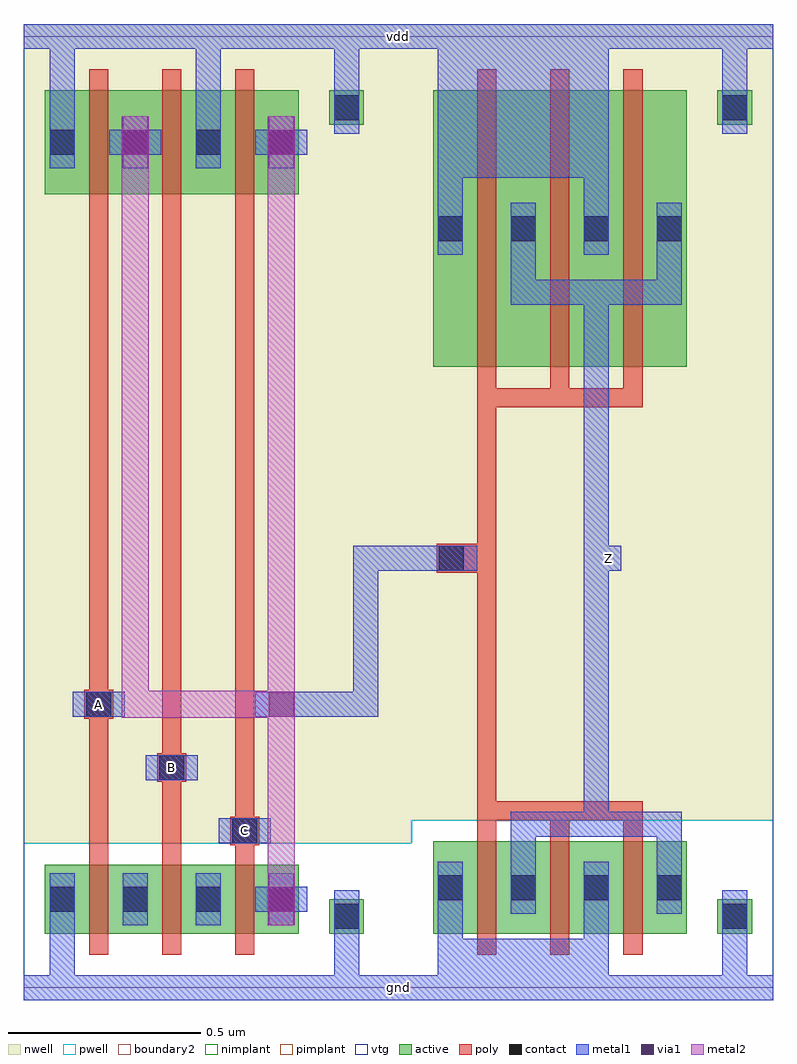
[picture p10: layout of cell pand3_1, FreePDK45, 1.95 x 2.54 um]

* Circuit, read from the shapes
.subckt pand3_1 A B C Z gnd vdd
M1 pnand3_1_0/nmos_m1_w0_180_a_p_3/D A gnd gnd nfet w=0.18u l=0.05u
M2 pnand3_1_0/nmos_m1_w0_180_a_p_4/D B pnand3_1_0/nmos_m1_w0_180_a_p_3/D gnd nfet w=0.18u l=0.05u
M3 pinv_15_1/A C pnand3_1_0/nmos_m1_w0_180_a_p_4/D gnd nfet w=0.18u l=0.05u
M4 Z pinv_15_1/A gnd gnd nfet w=0.24u l=0.05u m=3
M5 pinv_15_1/A A vdd vdd pfet w=0.27u l=0.05u
M6 vdd B pinv_15_1/A vdd pfet w=0.27u l=0.05u
M7 pinv_15_1/A C vdd vdd pfet w=0.27u l=0.05u
M8 Z pinv_15_1/A vdd vdd pfet w=0.72u l=0.05u m=3
.ends

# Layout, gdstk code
import gdstk
lib = gdstk.Library(unit=1e-6, precision=5e-10)
def R(c, l, rs):  # rectangles x0, y0, x1, y1
    for r in rs: c.add(gdstk.rectangle(r[:2], r[2:], *l))
def A(c, l, x, y, w, h, nx, ny, dx, dy):  # array of equal rectangles
    R(c, l, [(x+i*dx, y+j*dy, x+i*dx+w, y+j*dy+h) for i in range(nx) for j in range(ny)])
active = (1, 0)
pwell = (2, 0)
nwell = (3, 0)
nimplant = (4, 0)
pimplant = (5, 0)
vtg = (6, 0)
poly = (9, 0)
contact = (10, 0)
metal1 = (11, 0)
via1 = (12, 0)
metal2 = (13, 0)
boundary2 = (239, 0)

contact_9 = lib.new_cell('contact_9')
R(contact_9, active, [(0,0.0225,0.09,0.1125)])
R(contact_9, nwell, [(-0.055,-0.0325,0.145,0.1675)])
R(contact_9, pimplant, [(0,0.0225,0.09,0.1125)])
R(contact_9, contact, [(0.0125,0.035,0.0775,0.1)])
R(contact_9, metal1, [(0.0125,0,0.0775,0.135)])

pmos_m1_w0_270_a_p = lib.new_cell('pmos_m1_w0_270_a_p')
R(pmos_m1_w0_270_a_p, active, [(0,0,0.28,0.27)])
R(pmos_m1_w0_270_a_p, nwell, [(-0.055,-0.055,0.335,0.325)])
R(pmos_m1_w0_270_a_p, pimplant, [(0,0,0.28,0.27)])
R(pmos_m1_w0_270_a_p, vtg, [(-0.055,-0.055,0.335,0.325)])
R(pmos_m1_w0_270_a_p, poly, [(0.115,-0.055,0.165,0.325), (0.115,-0.055,0.165,0.325)])
R(pmos_m1_w0_270_a_p, metal1, [(0.0125,0.0675,0.0775,0.2025), (0.2025,0.0675,0.2675,0.2025)])
pmos_m1_w0_270_a_p.add(gdstk.Reference(contact_9, (0,0.0675)))
pmos_m1_w0_270_a_p.add(gdstk.Reference(contact_9, (0.19,0.0675)))
pmos_m1_w0_270_a_p.add(gdstk.Label('G', (0.14,0.135), layer=9, texttype=0))
pmos_m1_w0_270_a_p.add(gdstk.Label('S', (0.045,0.135), layer=11, texttype=0))
pmos_m1_w0_270_a_p.add(gdstk.Label('D', (0.235,0.135), layer=11, texttype=0))

contact_14 = lib.new_cell('contact_14')
R(contact_14, active, [(0,0.0225,0.09,0.1125)])
R(contact_14, pwell, [(-0.055,-0.0325,0.145,0.1675)])
R(contact_14, nimplant, [(0,0.0225,0.09,0.1125)])
R(contact_14, contact, [(0.0125,0.035,0.0775,0.1)])
R(contact_14, metal1, [(0.0125,0,0.0775,0.135)])

nmos_m1_w0_180_a_p = lib.new_cell('nmos_m1_w0_180_a_p')
R(nmos_m1_w0_180_a_p, active, [(0,0,0.28,0.18)])
R(nmos_m1_w0_180_a_p, pwell, [(-0.055,-0.055,0.335,0.235)])
R(nmos_m1_w0_180_a_p, nimplant, [(0,0,0.28,0.18)])
R(nmos_m1_w0_180_a_p, vtg, [(-0.055,-0.055,0.335,0.235)])
R(nmos_m1_w0_180_a_p, poly, [(0.115,-0.055,0.165,0.235), (0.115,-0.055,0.165,0.235)])
R(nmos_m1_w0_180_a_p, metal1, [(0.0125,0.0225,0.0775,0.1575), (0.2025,0.0225,0.2675,0.1575)])
nmos_m1_w0_180_a_p.add(gdstk.Reference(contact_14, (0,0.0225)))
nmos_m1_w0_180_a_p.add(gdstk.Reference(contact_14, (0.19,0.0225)))
nmos_m1_w0_180_a_p.add(gdstk.Label('G', (0.14,0.09), layer=9, texttype=0))
nmos_m1_w0_180_a_p.add(gdstk.Label('S', (0.045,0.09), layer=11, texttype=0))
nmos_m1_w0_180_a_p.add(gdstk.Label('D', (0.235,0.09), layer=11, texttype=0))

contact_18 = lib.new_cell('contact_18')
R(contact_18, active, [(0,0.0225,0.09,0.1125)])
R(contact_18, nwell, [(-0.055,-0.0325,0.145,0.1675)])
R(contact_18, nimplant, [(0,0.0225,0.09,0.1125)])
R(contact_18, contact, [(0.0125,0.035,0.0775,0.1)])
R(contact_18, metal1, [(0.0125,0,0.0775,0.135)])

contact_19 = lib.new_cell('contact_19')
R(contact_19, active, [(0,0.0225,0.09,0.1125)])
R(contact_19, pwell, [(-0.055,-0.0325,0.145,0.1675)])
R(contact_19, pimplant, [(0,0.0225,0.09,0.1125)])
R(contact_19, contact, [(0.0125,0.035,0.0775,0.1)])
R(contact_19, metal1, [(0.0125,0,0.0775,0.135)])

contact_10 = lib.new_cell('contact_10')
R(contact_10, poly, [(0.03,0,0.105,0.075)])
R(contact_10, contact, [(0.035,0.005,0.1,0.07)])
R(contact_10, metal1, [(0,0.005,0.135,0.07)])

contact_16 = lib.new_cell('contact_16')
R(contact_16, metal1, [(0,0.035,0.135,0.1)])
R(contact_16, via1, [(0.035,0.035,0.1,0.1)])
R(contact_16, metal2, [(0.0325,0,0.1025,0.135)])

pnand3_1 = lib.new_cell('pnand3_1')
R(pnand3_1, pwell, [(0,-0.0325,1.01,0.375)])
R(pnand3_1, nwell, [(0,0.375,1.01,2.5075)])
R(pnand3_1, vtg, [(0,-0.0325,1.01,0.375), (0,0.375,1.01,2.5075)])
A(pnand3_1, poly, 0.17, 0.085, 0.05, 1.925, 3, 1, 0.19, 0)
R(pnand3_1, poly, [(0.55,0.37,0.575,0.445), (0.36,0.535,0.385,0.61), (0.17,0.7,0.195,0.775)])
R(pnand3_1, metal1, [(0,-0.0325,1.01,0.0325), (0.0675,-0.0325,0.1325,0.1625), (0.8075,0,0.8725,0.185), (0.5075,0.375,0.6425,0.44), (0.3175,0.54,0.4525,0.605), (0.1275,0.705,0.2625,0.77), (0.6025,0.705,0.7375,0.77), (0.0675,2.1325,0.1325,2.5075), (0.4475,2.1325,0.5125,2.5075), (0.8075,2.29,0.8725,2.475), (0,2.4425,1.01,2.5075)])
R(pnand3_1, metal2, [(0.635,0.2975,0.705,2.1325), (0.635,0.2975,0.705,0.7375), (0.255,0.7025,0.325,0.7725), (0.29,0.7025,0.67,0.7725), (0.635,0.7025,0.705,0.7725), (0.255,0.7375,0.325,2.1325)])
R(pnand3_1, boundary2, [(0,0,1.01,2.475)])
pnand3_1.add(gdstk.Reference(pmos_m1_w0_270_a_p, (0.055,2.065)))
pnand3_1.add(gdstk.Reference(pmos_m1_w0_270_a_p, (0.245,2.065)))
pnand3_1.add(gdstk.Reference(pmos_m1_w0_270_a_p, (0.435,2.065)))
pnand3_1.add(gdstk.Reference(nmos_m1_w0_180_a_p, (0.055,0.14)))
pnand3_1.add(gdstk.Reference(nmos_m1_w0_180_a_p, (0.245,0.14)))
pnand3_1.add(gdstk.Reference(nmos_m1_w0_180_a_p, (0.435,0.14)))
pnand3_1.add(gdstk.Reference(contact_18, (0.795,2.2225)))
pnand3_1.add(gdstk.Reference(contact_19, (0.795,0.1175)))
pnand3_1.add(gdstk.Reference(contact_10, (0.5075,0.37)))
pnand3_1.add(gdstk.Reference(contact_10, (0.3175,0.535)))
pnand3_1.add(gdstk.Reference(contact_10, (0.1275,0.7)))
pnand3_1.add(gdstk.Reference(contact_16, (0.2225,2.1325)))
pnand3_1.add(gdstk.Reference(contact_16, (0.6025,2.1325)))
pnand3_1.add(gdstk.Reference(contact_16, (0.6025,0.1625)))
pnand3_1.add(gdstk.Reference(contact_16, (0.6025,0.67)))
pnand3_1.add(gdstk.Label('gnd', (0.505,0), layer=11, texttype=0))
pnand3_1.add(gdstk.Label('vdd', (0.505,2.475), layer=11, texttype=0))
pnand3_1.add(gdstk.Label('C', (0.575,0.4075), layer=11, texttype=0))
pnand3_1.add(gdstk.Label('B', (0.385,0.5725), layer=11, texttype=0))
pnand3_1.add(gdstk.Label('A', (0.195,0.7375), layer=11, texttype=0))
pnand3_1.add(gdstk.Label('Z', (0.67,0.7375), layer=11, texttype=0))

pmos_m3_w0_720_a_p = lib.new_cell('pmos_m3_w0_720_a_p')
R(pmos_m3_w0_720_a_p, active, [(0,0,0.66,0.72)])
R(pmos_m3_w0_720_a_p, nwell, [(-0.055,-0.055,0.715,0.775)])
R(pmos_m3_w0_720_a_p, pimplant, [(0,0,0.66,0.72)])
R(pmos_m3_w0_720_a_p, vtg, [(-0.055,-0.055,0.715,0.775)])
A(pmos_m3_w0_720_a_p, poly, 0.115, -0.055, 0.05, 0.83, 3, 1, 0.19, 0)
R(pmos_m3_w0_720_a_p, poly, [(0.115,-0.105,0.545,-0.055)])
R(pmos_m3_w0_720_a_p, metal1, [(0.2025,0.1625,0.6475,0.2275), (0.2025,0.195,0.2675,0.36), (0.5825,0.195,0.6475,0.36), (0.0125,0.36,0.0775,0.525), (0.3925,0.36,0.4575,0.525), (0.0125,0.4925,0.4575,0.5575)])
pmos_m3_w0_720_a_p.add(gdstk.Reference(contact_9, (0,0.2925)))
pmos_m3_w0_720_a_p.add(gdstk.Reference(contact_9, (0.38,0.2925)))
pmos_m3_w0_720_a_p.add(gdstk.Reference(contact_9, (0.19,0.2925)))
pmos_m3_w0_720_a_p.add(gdstk.Reference(contact_9, (0.57,0.2925)))
pmos_m3_w0_720_a_p.add(gdstk.Label('G', (0.33,-0.08), layer=9, texttype=0))
pmos_m3_w0_720_a_p.add(gdstk.Label('S', (0.235,0.525), layer=11, texttype=0))
pmos_m3_w0_720_a_p.add(gdstk.Label('D', (0.425,0.195), layer=11, texttype=0))

nmos_m3_w0_240_a_p = lib.new_cell('nmos_m3_w0_240_a_p')
R(nmos_m3_w0_240_a_p, active, [(0,0,0.66,0.24)])
R(nmos_m3_w0_240_a_p, pwell, [(-0.055,-0.055,0.715,0.295)])
R(nmos_m3_w0_240_a_p, nimplant, [(0,0,0.66,0.24)])
R(nmos_m3_w0_240_a_p, vtg, [(-0.055,-0.055,0.715,0.295)])
A(nmos_m3_w0_240_a_p, poly, 0.115, -0.055, 0.05, 0.35, 3, 1, 0.19, 0)
R(nmos_m3_w0_240_a_p, poly, [(0.115,0.295,0.545,0.345)])
R(nmos_m3_w0_240_a_p, metal1, [(0.0125,-0.0775,0.4575,-0.0125), (0.0125,-0.045,0.0775,0.12), (0.3925,-0.045,0.4575,0.12), (0.2025,0.12,0.2675,0.285), (0.5825,0.12,0.6475,0.285), (0.2025,0.2525,0.6475,0.3175)])
nmos_m3_w0_240_a_p.add(gdstk.Reference(contact_14, (0,0.0525)))
nmos_m3_w0_240_a_p.add(gdstk.Reference(contact_14, (0.38,0.0525)))
nmos_m3_w0_240_a_p.add(gdstk.Reference(contact_14, (0.19,0.0525)))
nmos_m3_w0_240_a_p.add(gdstk.Reference(contact_14, (0.57,0.0525)))
nmos_m3_w0_240_a_p.add(gdstk.Label('G', (0.33,0.32), layer=9, texttype=0))
nmos_m3_w0_240_a_p.add(gdstk.Label('S', (0.235,-0.045), layer=11, texttype=0))
nmos_m3_w0_240_a_p.add(gdstk.Label('D', (0.425,0.285), layer=11, texttype=0))

pinv_15 = lib.new_cell('pinv_15')
R(pinv_15, pwell, [(0,-0.0325,0.94,0.435)])
R(pinv_15, nwell, [(0,0.435,0.94,2.5075)])
R(pinv_15, vtg, [(0,-0.0325,0.94,0.435), (0,0.435,0.94,2.5075)])
R(pinv_15, poly, [(0.17,0.435,0.22,1.51), (0.1025,1.08,0.17,1.155)])
R(pinv_15, metal1, [(0,-0.0325,0.94,0.0325), (0.0675,-0.0325,0.5125,0.0625), (0.8075,0,0.8725,0.185), (0.4475,0.3925,0.5125,1.8425), (0.035,1.085,0.17,1.15), (0.48,1.085,0.545,1.15), (0.0675,2.1075,0.5125,2.5075), (0.8075,2.29,0.8725,2.475), (0,2.4425,0.94,2.5075)])
R(pinv_15, boundary2, [(0,0,0.94,2.475)])
pinv_15.add(gdstk.Reference(pmos_m3_w0_720_a_p, (0.055,1.615)))
pinv_15.add(gdstk.Reference(nmos_m3_w0_240_a_p, (0.055,0.14)))
pinv_15.add(gdstk.Reference(contact_18, (0.795,2.2225)))
pinv_15.add(gdstk.Reference(contact_19, (0.795,0.1175)))
pinv_15.add(gdstk.Reference(contact_10, (0.035,1.08)))
pinv_15.add(gdstk.Label('gnd', (0.47,0), layer=11, texttype=0))
pinv_15.add(gdstk.Label('vdd', (0.47,2.475), layer=11, texttype=0))
pinv_15.add(gdstk.Label('A', (0.1025,1.1175), layer=11, texttype=0))
pinv_15.add(gdstk.Label('Z', (0.5125,1.1175), layer=11, texttype=0))

pand3_1 = lib.new_cell('pand3_1')
R(pand3_1, metal1, [(0,-0.0325,1.95,0.0325), (0.5075,0.375,0.6425,0.44), (0.3175,0.54,0.4525,0.605), (0.1275,0.705,0.2625,0.77), (0.67,0.705,0.89,0.77), (0.8575,0.705,0.9225,0.77), (0.8575,0.7375,0.9225,1.1175), (0.8575,1.085,0.9225,1.15), (0.89,1.085,1.1125,1.15), (1.49,1.085,1.555,1.15), (0,2.4425,1.95,2.5075)])
R(pand3_1, boundary2, [(0,0,1.95,2.475)])
pand3_1.add(gdstk.Reference(pnand3_1, (0,0)))
pand3_1.add(gdstk.Reference(pinv_15, (1.01,0)))
pand3_1.add(gdstk.Label('vdd', (0.975,2.475), layer=11, texttype=0))
pand3_1.add(gdstk.Label('gnd', (0.975,0), layer=11, texttype=0))
pand3_1.add(gdstk.Label('Z', (1.5225,1.1175), layer=11, texttype=0))
pand3_1.add(gdstk.Label('A', (0.195,0.7375), layer=11, texttype=0))
pand3_1.add(gdstk.Label('B', (0.385,0.5725), layer=11, texttype=0))
pand3_1.add(gdstk.Label('C', (0.575,0.4075), layer=11, texttype=0))

lib.write_gds('pand3_1.gds')
